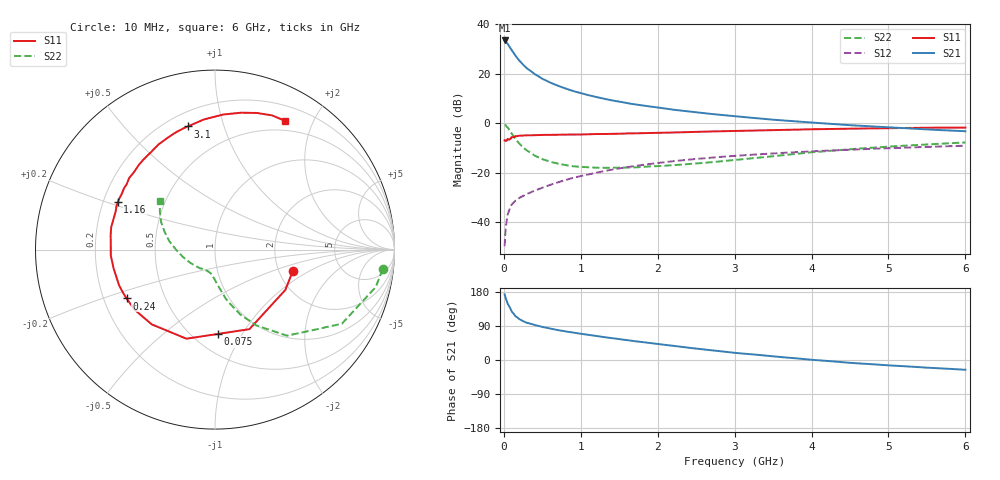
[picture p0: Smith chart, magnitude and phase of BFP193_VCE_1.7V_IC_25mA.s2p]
! Infineon Technologies  Discrete & RF Semiconductors
! BFP193
! VCE = 1.7 V,  IC =  25 mA
! Common Emitter S-Parameters:  Jan 2016
# GHz  S  MA  R  50
!  f  S11  S21  S12  S22
! GHz  MAG  ANG  MAG  ANG  MAG  ANG  MAG  ANG
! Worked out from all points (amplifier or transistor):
!   210 points, 10 MHz to 6 GHz, reference 50 ohm
!   highest |S21| = 33.4 dB at 10 MHz (marker M1)
!   |S21| within 3 dB of that: start of sweep to 82.72 MHz
!   unconditionally stable (mu >= 1): 657 MHz to 3.864 GHz
!   at 185 MHz: K = 0.55, MSG = 28.2 dB, |S12| = -30.5 dB
!   at 1.52 GHz: K = 1.08, MAG = 11.7 dB, |S12| = -18.2 dB
!   at 6 GHz: K = 0.94, MSG = 2.9 dB, |S12| = -9.1 dB
!   S11 on the Smith chart (normalised r, x): 10 MHz: 2.37, -0.72; 75 MHz: 0.66, -0.79; 240 MHz: 0.30, -0.24; 1.16 GHz: 0.26, +0.22; 3.1 GHz: 0.28, +0.76; 6 GHz: 0.37, +1.61
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0.01  0.4496 -15.6  46.78 173.4  0.0033 84.2  0.9405 -6.7
0.02  0.4518 -29.8  45.05 165.6  0.0062 79.7  0.9196 -13.1
0.05  0.483 -66.6  39.94 148.4  0.0144 68.2  0.8188 -30.3
0.075  0.4701 -88.0  34.58 139.7  0.0184 60.6  0.7114 -38.9
0.1  0.5214 -107.8  30.27 128.3  0.0226 55.8  0.6252 -50.1
0.15  0.5456 -130.2  23.05 115.8  0.0273 51.6  0.4815 -61.4
0.2  0.5594 -143.2  18.43 108.0  0.031 50.5  0.3898 -68.6
0.24  0.5627 -151.1  15.76 103.6  0.0334 50.9  0.3362 -72.4
0.3  0.5703 -159.5  12.81 98.2  0.0373 52.1  0.2816 -77.4
0.4  0.5746 -169.6  9.817 92.2  0.0434 54.5  0.2225 -82.7
0.5  0.5816 -176.8  7.891 87.2  0.0497 56.8  0.1883 -86.9
0.6  0.5811 177.0  6.632 82.9  0.0569 57.1  0.1671 -90.5
0.7  0.5868 172.2  5.72 78.9  0.0638 58.8  0.1528 -93.8
0.82  0.5911 167.1  4.897 74.9  0.0728 58.6  0.1413 -97.5
1.02  0.5928 159.1  3.959 68.7  0.0873 58.9  0.131 -102.8
1.16  0.6025 154.1  3.5 64.6  0.0975 58.4  0.1275 -107.3
1.6  0.6228 140.2  2.547 52.4  0.1294 54.7  0.1277 -120.7
2.02  0.6406 128.5  2.04 41.7  0.1587 50.3  0.1365 -134.2
3.1  0.7025 102.5  1.339 17.2  0.2247 37.2  0.1869 -169.1
4.1  0.7575 85.0  1.007 -0.9  0.2753 25.5  0.2664 167.5
5.1  0.7986 71.8  0.809 -15.2  0.3167 14.5  0.3445 151.2
6  0.8166 61.6  0.689 -25.8  0.3519 4.9  0.4092 138.7
